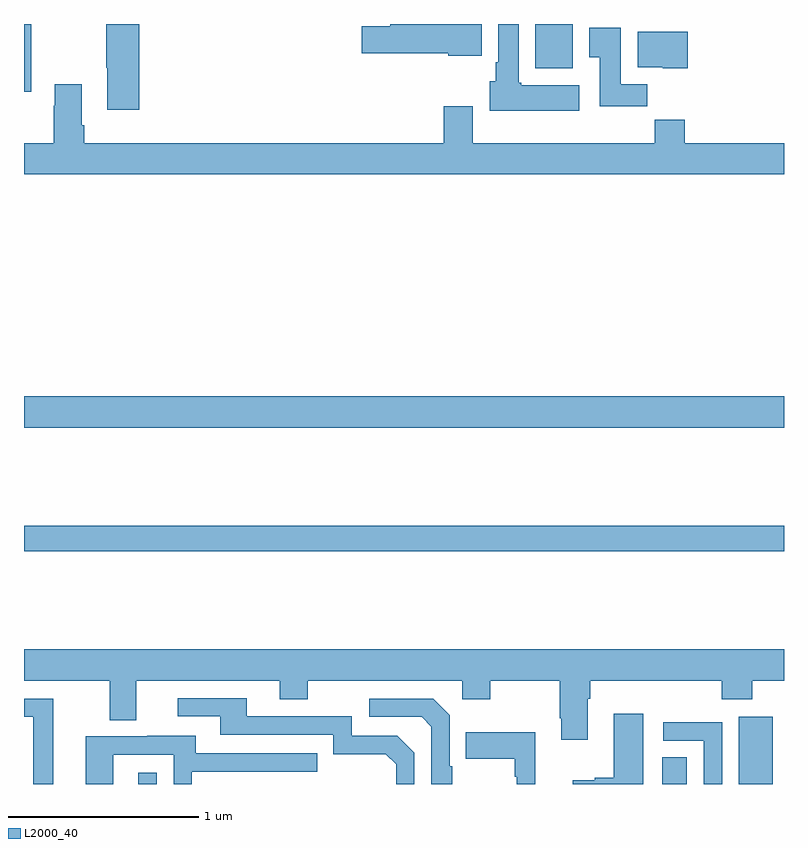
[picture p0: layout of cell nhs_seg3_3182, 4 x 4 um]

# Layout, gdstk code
import gdstk
lib = gdstk.Library(unit=1e-6, precision=1e-09)
def R(c, l, rs):  # rectangles x0, y0, x1, y1
    for r in rs: c.add(gdstk.rectangle(r[:2], r[2:], *l))
def P(c, l, *ps):  # polygons
    for p in ps: c.add(gdstk.Polygon(p, *l))
L2000_40 = (2000, 40)

nhs_seg3_3182 = lib.new_cell('nhs_seg3_3182')
R(nhs_seg3_3182, L2000_40, [(277.601,672.4,277.698,672.46), (280.358,672.4,280.489,672.542), (280.763,672.4,280.942,672.754), (277,673.624,281,673.76), (277,674.276,281,674.44), (277,676.043,277.039,676.4), (279.692,676.166,279.889,676.4)])
P(nhs_seg3_3182, L2000_40, [(279.409,676.4),(278.927,676.4),(278.927,676.388),(278.778,676.388),(278.778,676.246),(279.234,676.246),(279.234,676.232),(279.409,676.232)],
  [(279.922,676.078),(279.618,676.078),(279.618,676.092),(279.604,676.092),(279.604,676.4),(279.497,676.4),(279.497,676.198),(279.482,676.198),(279.482,676.098),(279.452,676.098),(279.452,675.944),(279.922,675.944)],
  [(277.607,676.4),(277.432,676.4),(277.432,676.171),(277.439,676.171),(277.439,675.948),(277.607,675.948)],
  [(280.28,676.084),(280.141,676.084),(280.141,676.381),(279.974,676.381),(279.974,676.225),(280.031,676.225),(280.031,675.966),(280.28,675.966)],
  [(280.493,676.36),(280.229,676.36),(280.229,676.172),(280.362,676.172),(280.362,676.166),(280.493,676.166)],
  [(281,675.772),(280.478,675.772),(280.478,675.896),(280.321,675.896),(280.321,675.772),(279.361,675.772),(279.361,675.967),(279.209,675.967),(279.209,675.772),(277.316,675.772),(277.316,675.868),(277.303,675.868),(277.303,676.084),(277.163,676.084),(277.163,675.971),(277.156,675.971),(277.156,675.772),(277,675.772),(277,675.608),(281,675.608)],
  [(279.967,672.848),(279.98,672.848),(279.98,672.944),(280.673,672.944),(280.673,672.845),(280.833,672.845),(280.833,672.944),(281,672.944),(281,673.108),(277,673.108),(277,672.944),(277.451,672.944),(277.451,672.736),(277.591,672.736),(277.591,672.944),(278.345,672.944),(278.345,672.845),(278.493,672.845),(278.493,672.944),(279.306,672.944),(279.306,672.845),(279.453,672.845),(279.453,672.944),(279.82,672.944),(279.82,672.745),(279.827,672.745),(279.827,672.633),(279.967,672.633)],
  [(279.054,672.564),(278.964,672.654),(278.724,672.654),(278.724,672.756),(278.173,672.756),(278.173,672.852),(277.809,672.852),(277.809,672.756),(278.033,672.756),(278.033,672.66),(278.628,672.66),(278.628,672.557),(278.905,672.557),(278.958,672.504),(278.958,672.4),(279.054,672.4)],
  [(279.253,672.493),(279.24,672.493),(279.24,672.762),(279.153,672.849),(278.817,672.849),(278.817,672.753),(279.093,672.753),(279.144,672.702),(279.144,672.4),(279.253,672.4)],
  [(277.153,672.849),(277,672.849),(277,672.753),(277.049,672.753),(277.049,672.4),(277.153,672.4)],
  [(280.258,672.769),(280.103,672.769),(280.103,672.434),(280.004,672.434),(280.004,672.421),(279.888,672.421),(279.888,672.4),(280.258,672.4)],
  [(280.674,672.726),(280.365,672.726),(280.365,672.627),(280.578,672.627),(280.578,672.4),(280.674,672.4)],
  [(279.692,672.673),(279.325,672.673),(279.325,672.533),(279.582,672.533),(279.582,672.437),(279.594,672.437),(279.594,672.4),(279.692,672.4)],
  [(277.47,672.555),(277.788,672.555),(277.788,672.4),(277.884,672.4),(277.884,672.465),(278.543,672.465),(278.543,672.561),(277.903,672.561),(277.903,672.655),(277.649,672.655),(277.649,672.651),(277.325,672.651),(277.325,672.4),(277.47,672.4)])

lib.write_gds('nhs_seg3_3182.gds')
